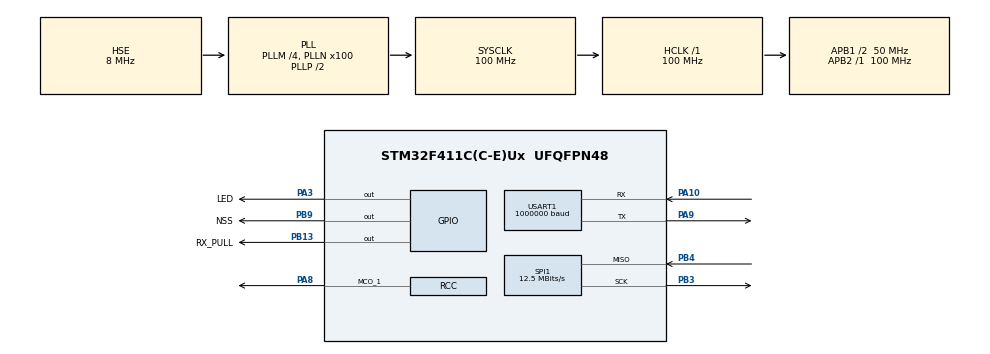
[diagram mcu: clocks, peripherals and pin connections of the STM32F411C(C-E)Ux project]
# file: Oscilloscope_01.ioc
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Dma.Request0=USART1_TX
Dma.USART1_TX.0.Direction=DMA_MEMORY_TO_PERIPH
Dma.USART1_TX.0.FIFOMode=DMA_FIFOMODE_DISABLE
Dma.USART1_TX.0.Instance=DMA2_Stream7
Dma.USART1_TX.0.MemDataAlignment=DMA_MDATAALIGN_BYTE
Dma.USART1_TX.0.MemInc=DMA_MINC_ENABLE
Dma.USART1_TX.0.Mode=DMA_NORMAL
Dma.USART1_TX.0.PeriphDataAlignment=DMA_PDATAALIGN_BYTE
Dma.USART1_TX.0.PeriphInc=DMA_PINC_DISABLE
Dma.USART1_TX.0.Priority=DMA_PRIORITY_HIGH
Mcu.Family=STM32F4
Mcu.Name=STM32F411C(C-E)Ux
Mcu.Package=UFQFPN48
NVIC.DMA2_Stream7_IRQn=true\:0\:0\:false\:true\:true\:1\:false\:true
NVIC.PriorityGroup=NVIC_PRIORITYGROUP_4
NVIC.USART1_IRQn=true\:0\:0\:false\:true\:true\:2\:true\:true
PA10.Mode=Asynchronous
PA10.Signal=USART1_RX
PA13.Mode=Serial_Wire
PA13.Signal=SYS_JTMS-SWDIO
PA14.Mode=Serial_Wire
PA14.Signal=SYS_JTCK-SWCLK
PA3.GPIO_Label=LED
PA3.Signal=GPIO_Output
PA8.Mode=Clock-out-1
PA8.Signal=RCC_MCO_1
PA9.Mode=Asynchronous
PA9.Signal=USART1_TX
PB13.GPIO_Label=RX_PULL
PB13.PinState=GPIO_PIN_SET
PB13.Signal=GPIO_Output
PB3.Mode=RX_Only_Simplex_Unidirect_Master
PB3.Signal=SPI1_SCK
PB4.Mode=RX_Only_Simplex_Unidirect_Master
PB4.Signal=SPI1_MISO
PB9.GPIO_Label=NSS
PB9.GPIO_Speed=GPIO_SPEED_FREQ_HIGH
PB9.Signal=GPIO_Output
PH0\ -\ OSC_IN.Mode=HSE-External-Oscillator
PH0\ -\ OSC_IN.Signal=RCC_OSC_IN
PH1\ -\ OSC_OUT.Mode=HSE-External-Oscillator
PH1\ -\ OSC_OUT.Signal=RCC_OSC_OUT
ProjectManager.HeapSize=0x200
ProjectManager.StackSize=0x400
ProjectManager.TargetToolchain=MDK-ARM V5.27
RCC.48MHZClocksFreq_Value=50000000
RCC.AHBFreq_Value=100000000
RCC.APB1CLKDivider=RCC_HCLK_DIV2
RCC.APB1Freq_Value=50000000
RCC.APB1TimFreq_Value=100000000
RCC.APB2Freq_Value=100000000
RCC.APB2TimFreq_Value=100000000
RCC.CortexFreq_Value=100000000
RCC.HCLKFreq_Value=100000000
RCC.HSE_VALUE=8000000
RCC.HSI_VALUE=16000000
RCC.LSE_VALUE=32768
RCC.PLLM=4
RCC.PLLN=100
RCC.PLLSourceVirtual=RCC_PLLSOURCE_HSE
RCC.RCC_MCO1Source=RCC_MCO1SOURCE_HSE
RCC.SYSCLKFreq_VALUE=100000000
RCC.SYSCLKSource=RCC_SYSCLKSOURCE_PLLCLK
RCC.VCOOutputFreq_Value=200000000
SPI1.BaudRatePrescaler=SPI_BAUDRATEPRESCALER_8
SPI1.CLKPhase=SPI_PHASE_2EDGE
SPI1.CLKPolarity=SPI_POLARITY_HIGH
SPI1.CalculateBaudRate=12.5 MBits/s
SPI1.DataSize=SPI_DATASIZE_16BIT
SPI1.Direction=SPI_DIRECTION_2LINES_RXONLY
SPI1.Mode=SPI_MODE_MASTER
SPI1.VirtualType=VM_MASTER
USART1.BaudRate=1000000
USART1.Mode=MODE_TX
USART1.OverSampling=UART_OVERSAMPLING_8
USART1.VirtualMode=VM_ASYNC
board=custom

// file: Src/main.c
/* USER CODE BEGIN Header */
/**
  ******************************************************************************
  * @file           : main.c
  * @brief          : Main program body
  ******************************************************************************
  * @attention
  *
  * <h2><center>&copy; Copyright (c) 2020 STMicroelectronics.
  * All rights reserved.</center></h2>
  *
  * This software component is licensed by ST under BSD 3-Clause license,
  * the "License"; You may not use this file except in compliance with the
  * License. You may obtain a copy of the License at:
  *                        opensource.org/licenses/BSD-3-Clause
  *
  ******************************************************************************
  */
/* USER CODE END Header */

#include "main.h"

/* USER CODE BEGIN Includes */
#include "math.h"
/* USER CODE END Includes */

/* USER CODE BEGIN PD */
#define SPI_DATA_SIZE 		2048	// 137
#define BIT24							0x800000
#define SPI1_nCS_activate  HAL_GPIO_WritePin(GPIOB, NSS_Pin, GPIO_PIN_RESET);
#define SPI1_nCS_deactivate  HAL_GPIO_WritePin(GPIOB, NSS_Pin, GPIO_PIN_SET);
/* USER CODE END PD */

UART_HandleTypeDef huart1;
DMA_HandleTypeDef hdma_usart1_tx;

void SystemClock_Config(void);
static void MX_GPIO_Init(void);
static void MX_DMA_Init(void);
static void MX_SPI1_Init(void);
static void MX_USART1_UART_Init(void);
static void MX_NVIC_Init(void);

/* USER CODE BEGIN 0 */
typedef struct CDS_AHRS_Dual_KF_data_struct {
	//данные от датчиков
	float Start;//если не HID
	float accel[3];
	float gyro[3];
	float mag[3];
	//кватернион
	float q[4];
	//углы поворота
	float pitch;
	float roll;
	float yaw;
} CDS_AHRS_Dual_KF_data_t, *CDS_AHRS_Dual_KF_data_p;

void CDS_AHRS_Quaternion_Dual_KF(CDS_AHRS_Dual_KF_data_p data,float dt);

struct CDS_AHRS_Dual_KF_data_struct Data_to_send, *Data_to_send_p;
uint8_t dataToSend_TRND[68], *p1;
uint8_t dataToSend_SPI[SPI_DATA_SIZE * 3];

uint32_t convert(uint32_t);
uint16_t *adc1_p, *adc2_p, *spi_p, cou = 0, m_cou, test_matrix[1024], index;
uint8_t *byte_p;
void *p;
uint8_t SPI_read = 1, num = 1;
uint32_t data_tmp;
int32_t spi_data_to_send_1, spi_data_to_send_2, spi_data_to_send_3, spi_data_to_send_1_ni, spi_data_to_send_2_ni, spi_data_to_send_3_ni;
float bb, spi_data_to_send_1_f, spi_data_to_send_2_f, spi_data_to_send_3_f;
uint32_t shift = 7;
uint32_t b, delay = 10;
uint16_t spi_m_data;
extern int USB_send_massage;

						float convert_f(uint32_t a) {
								float fa = a;
					if (a & BIT24) {
						fa = -1 * (float)((~a) & 0x7fffff);
					__NOP();}
					else fa = a;
					__NOP();
					return (fa);
					}

/* USER CODE END 0 */

int main(void)
{

  /* MCU Configuration--------------------------------------------------------*/

  /* Reset of all peripherals, Initializes the Flash interface and the Systick. */
  HAL_Init();

  /* Configure the system clock */
  SystemClock_Config();

  /* Initialize all configured peripherals */
  MX_GPIO_Init();
  MX_DMA_Init();
  MX_SPI1_Init();
  MX_USART1_UART_Init();

  /* Initialize interrupts */
  MX_NVIC_Init();
  /* USER CODE BEGIN 2 */

	LL_SPI_Enable(SPI1); // enable SPI3
	p = &Data_to_send;
	p1 = p;
//	p = &ADC1_value;
	adc1_p	= p;
//	p = &ADC2_value;
	adc2_p	= p;
	p = &dataToSend_SPI;
	spi_p	= p;
			p = &dataToSend_SPI[cou];
			byte_p = p;
			spi_p	= p;
	__DMA2_CLK_ENABLE();
	__USART1_CLK_ENABLE();
	Data_to_send.Start = NAN;
  /* USER CODE END 2 */

  /* Infinite loop */
  /* USER CODE BEGIN WHILE */
  while (1)
  {
				for(cou = 0; cou < (SPI_DATA_SIZE * 3); cou+=3){
				SPI1_nCS_deactivate;
				SPI1_nCS_activate;
				SPI1_nCS_activate;
		/*
			SPI1->CR1 |= SPI_CR1_SPE;
		  while (!(SPI1->SR & SPI_SR_RXNE));
			SPI1->CR1 &= ~SPI_CR1_SPE;
			dataToSend_SPI[cou + 2] = SPI1->DR;

			SPI1->CR1 |= SPI_CR1_SPE;
		  while (!(SPI1->SR & SPI_SR_RXNE));
			SPI1->CR1 &= ~SPI_CR1_SPE;
			dataToSend_SPI[cou + 0] = SPI1->DR;

			SPI1->CR1 |= SPI_CR1_SPE;
		  while (!(SPI1->SR & SPI_SR_RXNE));
			SPI1->CR1 &= ~SPI_CR1_SPE;
			dataToSend_SPI[cou + 1] = SPI1->DR;
					*/

			SPI1->CR1 |= SPI_CR1_SPE;
		  while (!(SPI1->SR & SPI_SR_RXNE));
			SPI1->CR1 &= ~SPI_CR1_SPE;
			*(spi_p + cou) = SPI1->DR;

			SPI1->CR1 |= SPI_CR1_SPE;
		  while (!(SPI1->SR & SPI_SR_RXNE));
			SPI1->CR1 &= ~SPI_CR1_SPE;
			dataToSend_SPI[cou + 2] = (SPI1->DR) >> 8;
			SPI1->CR1 &= ~SPI_CR1_SPE;
								SPI1->CR1 &= ~SPI_CR1_SPE;
								SPI1->CR1 &= ~SPI_CR1_SPE;
								SPI1->CR1 &= ~SPI_CR1_SPE;
								SPI1->CR1 &= ~SPI_CR1_SPE;
								SPI1->CR1 &= ~SPI_CR1_SPE;
								SPI1->CR1 &= ~SPI_CR1_SPE;

		}
    /* USER CODE END WHILE */

    /* USER CODE BEGIN 3 */
						// By Systick interrupt Start USB transmission
					index=0;
				for(cou = 0; cou < (SPI_DATA_SIZE * 3); cou+=3){

																				//index++;
																				//if(index >= 1023) index = 1023;
																				test_matrix[index] = cou;
																			spi_data_to_send_1_ni = (uint32_t)(dataToSend_SPI[cou + 2] << 16) + (uint32_t)(dataToSend_SPI[cou + 1] << 8) + (uint32_t)(dataToSend_SPI[cou + 0]);//
																			spi_data_to_send_1_f = convert_f(spi_data_to_send_1_ni);

																		while(USB_send_massage == 0){
																																__NOP();

																																}
																				USB_send_massage = 0;
																			 Data_to_send.accel[0]	= index++;

																			 Data_to_send.gyro[0] = 1000;
																			 Data_to_send.gyro[1] = 2000;
																			 Data_to_send.gyro[2] = 3000;

																			Data_to_send.mag[2] = 100* index++;

																					for(int i = 0; i < 68; i++){
																					dataToSend_TRND[i] = *(p1+i);
																					}
																					HAL_UART_Transmit_DMA(&huart1, dataToSend_TRND, sizeof(dataToSend_TRND));

																															}
									}
  /* USER CODE END 3 */
}

void SystemClock_Config(void)
{
  RCC_OscInitTypeDef RCC_OscInitStruct = {0};
  RCC_ClkInitTypeDef RCC_ClkInitStruct = {0};

  /** Configure the main internal regulator output voltage
  */
  __HAL_RCC_PWR_CLK_ENABLE();
  __HAL_PWR_VOLTAGESCALING_CONFIG(PWR_REGULATOR_VOLTAGE_SCALE1);
  /** Initializes the CPU, AHB and APB busses clocks
  */
  RCC_OscInitStruct.OscillatorType = RCC_OSCILLATORTYPE_HSE;
  RCC_OscInitStruct.HSEState = RCC_HSE_ON;
  RCC_OscInitStruct.PLL.PLLState = RCC_PLL_ON;
  RCC_OscInitStruct.PLL.PLLSource = RCC_PLLSOURCE_HSE;
  RCC_OscInitStruct.PLL.PLLM = 4;
  RCC_OscInitStruct.PLL.PLLN = 100;
  RCC_OscInitStruct.PLL.PLLP = RCC_PLLP_DIV2;
  RCC_OscInitStruct.PLL.PLLQ = 4;
  if (HAL_RCC_OscConfig(&RCC_OscInitStruct) != HAL_OK)
  {
    Error_Handler();
  }
  /** Initializes the CPU, AHB and APB busses clocks
  */
  RCC_ClkInitStruct.ClockType = RCC_CLOCKTYPE_HCLK|RCC_CLOCKTYPE_SYSCLK
                              |RCC_CLOCKTYPE_PCLK1|RCC_CLOCKTYPE_PCLK2;
  RCC_ClkInitStruct.SYSCLKSource = RCC_SYSCLKSOURCE_PLLCLK;
  RCC_ClkInitStruct.AHBCLKDivider = RCC_SYSCLK_DIV1;
  RCC_ClkInitStruct.APB1CLKDivider = RCC_HCLK_DIV2;
  RCC_ClkInitStruct.APB2CLKDivider = RCC_HCLK_DIV1;

  if (HAL_RCC_ClockConfig(&RCC_ClkInitStruct, FLASH_LATENCY_3) != HAL_OK)
  {
    Error_Handler();
  }
  HAL_RCC_MCOConfig(RCC_MCO1, RCC_MCO1SOURCE_HSE, RCC_MCODIV_1);
}

/**
  * @brief NVIC Configuration.
  * @retval None
  */
static void MX_NVIC_Init(void)
{
  /* DMA2_Stream7_IRQn interrupt configuration */
  HAL_NVIC_SetPriority(DMA2_Stream7_IRQn, 0, 0);
  HAL_NVIC_EnableIRQ(DMA2_Stream7_IRQn);
  /* USART1_IRQn interrupt configuration */
  HAL_NVIC_SetPriority(USART1_IRQn, 0, 0);
  HAL_NVIC_EnableIRQ(USART1_IRQn);
}

static void MX_SPI1_Init(void)
{

  LL_SPI_InitTypeDef SPI_InitStruct = {0};

  LL_GPIO_InitTypeDef GPIO_InitStruct = {0};

  /* Peripheral clock enable */
  LL_APB2_GRP1_EnableClock(LL_APB2_GRP1_PERIPH_SPI1);

  LL_AHB1_GRP1_EnableClock(LL_AHB1_GRP1_PERIPH_GPIOB);
  /**SPI1 GPIO Configuration
  PB3   ------> SPI1_SCK
  PB4   ------> SPI1_MISO
  */
  GPIO_InitStruct.Pin = LL_GPIO_PIN_3|LL_GPIO_PIN_4;
  GPIO_InitStruct.Mode = LL_GPIO_MODE_ALTERNATE;
  GPIO_InitStruct.Speed = LL_GPIO_SPEED_FREQ_VERY_HIGH;
  GPIO_InitStruct.OutputType = LL_GPIO_OUTPUT_PUSHPULL;
  GPIO_InitStruct.Pull = LL_GPIO_PULL_NO;
  GPIO_InitStruct.Alternate = LL_GPIO_AF_5;
  LL_GPIO_Init(GPIOB, &GPIO_InitStruct);

  /* SPI1 parameter configuration*/
  SPI_InitStruct.TransferDirection = LL_SPI_SIMPLEX_RX;
  SPI_InitStruct.Mode = LL_SPI_MODE_MASTER;
  SPI_InitStruct.DataWidth = LL_SPI_DATAWIDTH_16BIT;
  SPI_InitStruct.ClockPolarity = LL_SPI_POLARITY_HIGH;
  SPI_InitStruct.ClockPhase = LL_SPI_PHASE_2EDGE;
  SPI_InitStruct.NSS = LL_SPI_NSS_SOFT;
  SPI_InitStruct.BaudRate = LL_SPI_BAUDRATEPRESCALER_DIV8;
  SPI_InitStruct.BitOrder = LL_SPI_MSB_FIRST;
  SPI_InitStruct.CRCCalculation = LL_SPI_CRCCALCULATION_DISABLE;
  SPI_InitStruct.CRCPoly = 10;
  LL_SPI_Init(SPI1, &SPI_InitStruct);
  LL_SPI_SetStandard(SPI1, LL_SPI_PROTOCOL_MOTOROLA);

}

static void MX_USART1_UART_Init(void)
{

  huart1.Instance = USART1;
  huart1.Init.BaudRate = 1000000;
  huart1.Init.WordLength = UART_WORDLENGTH_8B;
  huart1.Init.StopBits = UART_STOPBITS_1;
  huart1.Init.Parity = UART_PARITY_NONE;
  huart1.Init.Mode = UART_MODE_TX;
  huart1.Init.HwFlowCtl = UART_HWCONTROL_NONE;
  huart1.Init.OverSampling = UART_OVERSAMPLING_8;
  if (HAL_UART_Init(&huart1) != HAL_OK)
  {
    Error_Handler();
  }

}

static void MX_DMA_Init(void)
{

  /* DMA controller clock enable */
  __HAL_RCC_DMA2_CLK_ENABLE();

}

static void MX_GPIO_Init(void)
{
  GPIO_InitTypeDef GPIO_InitStruct = {0};

  /* GPIO Ports Clock Enable */
  __HAL_RCC_GPIOH_CLK_ENABLE();
  __HAL_RCC_GPIOA_CLK_ENABLE();
  __HAL_RCC_GPIOB_CLK_ENABLE();

  /*Configure GPIO pin Output Level */
  HAL_GPIO_WritePin(LED_GPIO_Port, LED_Pin, GPIO_PIN_RESET);

  /*Configure GPIO pin Output Level */
  HAL_GPIO_WritePin(RX_PULL_GPIO_Port, RX_PULL_Pin, GPIO_PIN_SET);

  /*Configure GPIO pin Output Level */
  HAL_GPIO_WritePin(NSS_GPIO_Port, NSS_Pin, GPIO_PIN_RESET);

  /*Configure GPIO pin : LED_Pin */
  GPIO_InitStruct.Pin = LED_Pin;
  GPIO_InitStruct.Mode = GPIO_MODE_OUTPUT_PP;
  GPIO_InitStruct.Pull = GPIO_NOPULL;
  GPIO_InitStruct.Speed = GPIO_SPEED_FREQ_LOW;
  HAL_GPIO_Init(LED_GPIO_Port, &GPIO_InitStruct);

  /*Configure GPIO pin : RX_PULL_Pin */
  GPIO_InitStruct.Pin = RX_PULL_Pin;
  GPIO_InitStruct.Mode = GPIO_MODE_OUTPUT_PP;
  GPIO_InitStruct.Pull = GPIO_NOPULL;
  GPIO_InitStruct.Speed = GPIO_SPEED_FREQ_LOW;
  HAL_GPIO_Init(RX_PULL_GPIO_Port, &GPIO_InitStruct);

  /*Configure GPIO pin : PA8 */
  GPIO_InitStruct.Pin = GPIO_PIN_8;
  GPIO_InitStruct.Mode = GPIO_MODE_AF_PP;
  GPIO_InitStruct.Pull = GPIO_NOPULL;
  GPIO_InitStruct.Speed = GPIO_SPEED_FREQ_LOW;
  GPIO_InitStruct.Alternate = GPIO_AF0_MCO;
  HAL_GPIO_Init(GPIOA, &GPIO_InitStruct);

  /*Configure GPIO pin : NSS_Pin */
  GPIO_InitStruct.Pin = NSS_Pin;
  GPIO_InitStruct.Mode = GPIO_MODE_OUTPUT_PP;
  GPIO_InitStruct.Pull = GPIO_NOPULL;
  GPIO_InitStruct.Speed = GPIO_SPEED_FREQ_HIGH;
  HAL_GPIO_Init(NSS_GPIO_Port, &GPIO_InitStruct);

}

void Error_Handler(void)
{
}

/************************ (C) COPYRIGHT STMicroelectronics *****END OF FILE****/
